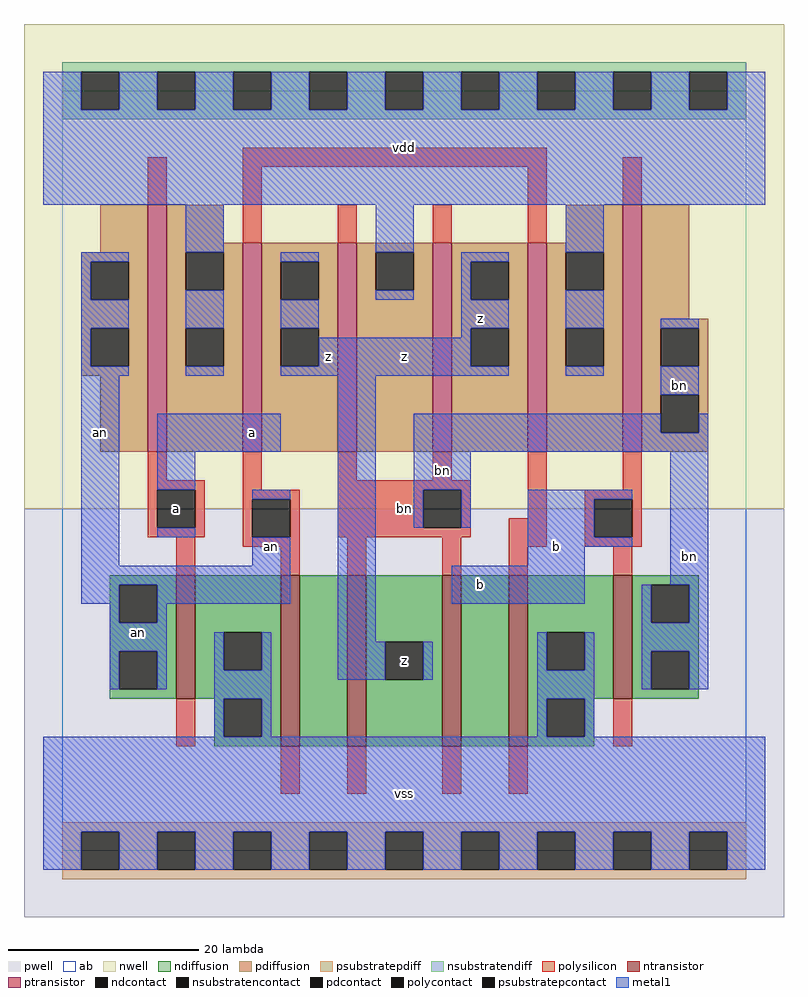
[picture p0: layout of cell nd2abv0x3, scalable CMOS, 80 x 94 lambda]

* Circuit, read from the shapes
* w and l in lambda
.subckt nd2abv0x3 a an b bn vdd vss z
M1 vss a an vss nfet w=13 l=2
M2 n1 an vss vss nfet w=18 l=2
M3 z bn n1 vss nfet w=18 l=2
M4 n2 bn z vss nfet w=18 l=2
M5 vss an n2 vss nfet w=18 l=2
M6 bn b vss vss nfet w=13 l=2
M7 vdd a an vdd pfet w=26 l=2
M8 z an vdd vdd pfet w=22 l=2 m=2
M9 vdd bn z vdd pfet w=22 l=2 m=2
M10 bn b vdd vdd pfet w=26 l=2
.ends

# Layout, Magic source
magic
tech scmos
<< ab >>
rect 0 0 72 80
<< pwell >>
rect -4 -7 76 36
<< nwell >>
rect -4 36 76 87
<< polysilicon >>
rect 9 68 11 73
rect 19 72 51 74
rect 19 64 21 72
rect 29 64 31 68
rect 39 64 41 68
rect 49 64 51 72
rect 59 68 61 73
rect 9 39 11 42
rect 9 38 15 39
rect 9 34 10 38
rect 14 34 15 38
rect 9 33 15 34
rect 19 38 21 42
rect 29 39 31 42
rect 39 39 41 42
rect 29 38 43 39
rect 19 37 25 38
rect 19 33 20 37
rect 24 33 25 37
rect 29 34 38 38
rect 42 34 43 38
rect 49 35 51 42
rect 59 38 61 42
rect 29 33 43 34
rect 12 29 14 33
rect 19 32 25 33
rect 23 29 25 32
rect 30 29 32 33
rect 40 29 42 33
rect 47 32 51 35
rect 55 37 61 38
rect 55 33 56 37
rect 60 33 61 37
rect 55 32 61 33
rect 47 29 49 32
rect 58 29 60 32
rect 12 11 14 16
rect 58 11 60 16
rect 23 6 25 11
rect 30 6 32 11
rect 40 6 42 11
rect 47 6 49 11
<< ndiffusion >>
rect 5 28 12 29
rect 5 24 6 28
rect 10 24 12 28
rect 5 21 12 24
rect 5 17 6 21
rect 10 17 12 21
rect 5 16 12 17
rect 14 23 23 29
rect 14 19 17 23
rect 21 19 23 23
rect 14 16 23 19
rect 16 12 17 16
rect 21 12 23 16
rect 16 11 23 12
rect 25 11 30 29
rect 32 22 40 29
rect 32 18 34 22
rect 38 18 40 22
rect 32 11 40 18
rect 42 11 47 29
rect 49 23 58 29
rect 49 19 51 23
rect 55 19 58 23
rect 49 16 58 19
rect 60 28 67 29
rect 60 24 62 28
rect 66 24 67 28
rect 60 21 67 24
rect 60 17 62 21
rect 66 17 67 21
rect 60 16 67 17
rect 49 12 51 16
rect 55 12 56 16
rect 49 11 56 12
<< pdiffusion >>
rect 4 63 9 68
rect 2 62 9 63
rect 2 58 3 62
rect 7 58 9 62
rect 2 55 9 58
rect 2 51 3 55
rect 7 51 9 55
rect 2 50 9 51
rect 4 42 9 50
rect 11 64 17 68
rect 53 64 59 68
rect 11 63 19 64
rect 11 59 13 63
rect 17 59 19 63
rect 11 55 19 59
rect 11 51 13 55
rect 17 51 19 55
rect 11 42 19 51
rect 21 62 29 64
rect 21 58 23 62
rect 27 58 29 62
rect 21 55 29 58
rect 21 51 23 55
rect 27 51 29 55
rect 21 42 29 51
rect 31 63 39 64
rect 31 59 33 63
rect 37 59 39 63
rect 31 42 39 59
rect 41 62 49 64
rect 41 58 43 62
rect 47 58 49 62
rect 41 55 49 58
rect 41 51 43 55
rect 47 51 49 55
rect 41 42 49 51
rect 51 63 59 64
rect 51 59 53 63
rect 57 59 59 63
rect 51 55 59 59
rect 51 51 53 55
rect 57 51 59 55
rect 51 42 59 51
rect 61 56 66 68
rect 61 55 68 56
rect 61 51 63 55
rect 67 51 68 55
rect 61 48 68 51
rect 61 44 63 48
rect 67 44 68 48
rect 61 42 68 44
<< metal1 >>
rect -2 78 2 82
rect 6 78 10 82
rect 14 78 18 82
rect 22 78 26 82
rect 30 78 34 82
rect 38 78 42 82
rect 46 78 50 82
rect 54 78 58 82
rect 62 78 66 82
rect 70 78 74 82
rect -2 68 74 78
rect 13 63 17 68
rect 33 63 37 68
rect 53 63 57 68
rect 2 62 7 63
rect 2 58 3 62
rect 2 55 7 58
rect 2 51 3 55
rect 2 50 7 51
rect 13 55 17 59
rect 13 50 17 51
rect 23 62 27 63
rect 33 58 37 59
rect 42 62 47 63
rect 42 58 43 62
rect 23 55 27 58
rect 42 55 47 58
rect 42 54 43 55
rect 27 51 43 54
rect 23 50 47 51
rect 53 55 57 59
rect 53 50 57 51
rect 63 55 67 56
rect 2 30 6 50
rect 10 42 23 46
rect 10 38 14 42
rect 10 33 14 34
rect 20 37 24 38
rect 20 30 24 33
rect 2 28 24 30
rect 2 26 6 28
rect 5 24 6 26
rect 10 26 24 28
rect 10 24 11 26
rect 5 21 11 24
rect 5 17 6 21
rect 10 17 11 21
rect 16 19 17 23
rect 21 19 22 23
rect 16 16 22 19
rect 29 22 33 50
rect 63 48 67 51
rect 37 44 63 46
rect 67 44 68 46
rect 37 42 68 44
rect 37 38 43 42
rect 37 34 38 38
rect 42 34 43 38
rect 49 37 60 38
rect 49 33 56 37
rect 49 32 60 33
rect 49 30 55 32
rect 41 26 55 30
rect 64 28 68 42
rect 61 24 62 28
rect 66 24 68 28
rect 29 18 34 22
rect 38 18 39 22
rect 50 19 51 23
rect 55 19 56 23
rect 16 12 17 16
rect 21 12 22 16
rect 50 16 56 19
rect 61 21 68 24
rect 61 17 62 21
rect 66 17 68 21
rect 50 12 51 16
rect 55 12 56 16
rect -2 2 74 12
rect -2 -2 2 2
rect 6 -2 10 2
rect 14 -2 18 2
rect 22 -2 26 2
rect 30 -2 34 2
rect 38 -2 42 2
rect 46 -2 50 2
rect 54 -2 58 2
rect 62 -2 66 2
rect 70 -2 74 2
<< ntransistor >>
rect 12 16 14 29
rect 23 11 25 29
rect 30 11 32 29
rect 40 11 42 29
rect 47 11 49 29
rect 58 16 60 29
<< ptransistor >>
rect 9 42 11 68
rect 19 42 21 64
rect 29 42 31 64
rect 39 42 41 64
rect 49 42 51 64
rect 59 42 61 68
<< polycontact >>
rect 10 34 14 38
rect 20 33 24 37
rect 38 34 42 38
rect 56 33 60 37
<< ndcontact >>
rect 6 24 10 28
rect 6 17 10 21
rect 17 19 21 23
rect 17 12 21 16
rect 34 18 38 22
rect 51 19 55 23
rect 62 24 66 28
rect 62 17 66 21
rect 51 12 55 16
<< pdcontact >>
rect 3 58 7 62
rect 3 51 7 55
rect 13 59 17 63
rect 13 51 17 55
rect 23 58 27 62
rect 23 51 27 55
rect 33 59 37 63
rect 43 58 47 62
rect 43 51 47 55
rect 53 59 57 63
rect 53 51 57 55
rect 63 51 67 55
rect 63 44 67 48
<< psubstratepcontact >>
rect 2 -2 6 2
rect 10 -2 14 2
rect 18 -2 22 2
rect 26 -2 30 2
rect 34 -2 38 2
rect 42 -2 46 2
rect 50 -2 54 2
rect 58 -2 62 2
rect 66 -2 70 2
<< nsubstratencontact >>
rect 2 78 6 82
rect 10 78 14 82
rect 18 78 22 82
rect 26 78 30 82
rect 34 78 38 82
rect 42 78 46 82
rect 50 78 54 82
rect 58 78 62 82
rect 66 78 70 82
<< psubstratepdiff >>
rect 0 2 72 3
rect 0 -2 2 2
rect 6 -2 10 2
rect 14 -2 18 2
rect 22 -2 26 2
rect 30 -2 34 2
rect 38 -2 42 2
rect 46 -2 50 2
rect 54 -2 58 2
rect 62 -2 66 2
rect 70 -2 72 2
rect 0 -3 72 -2
<< nsubstratendiff >>
rect 0 82 72 83
rect 0 78 2 82
rect 6 78 10 82
rect 14 78 18 82
rect 22 78 26 82
rect 30 78 34 82
rect 38 78 42 82
rect 46 78 50 82
rect 54 78 58 82
rect 62 78 66 82
rect 70 78 72 82
rect 0 77 72 78
<< labels >>
rlabel polysilicon 36 36 36 36 6 bn
rlabel metal1 8 23 8 23 6 an
rlabel metal1 4 44 4 44 6 an
rlabel metal1 22 32 22 32 6 an
rlabel polycontact 12 36 12 36 6 a
rlabel metal1 20 44 20 44 6 a
rlabel metal1 36 6 36 6 6 vss
rlabel ndcontact 36 20 36 20 6 z
rlabel metal1 40 40 40 40 6 bn
rlabel metal1 36 52 36 52 6 z
rlabel metal1 28 52 28 52 6 z
rlabel metal1 36 74 36 74 6 vdd
rlabel metal1 44 28 44 28 6 b
rlabel metal1 52 32 52 32 6 b
rlabel metal1 44 56 44 56 6 z
rlabel metal1 66 31 66 31 6 bn
rlabel metal1 65 49 65 49 6 bn
<< end >>
